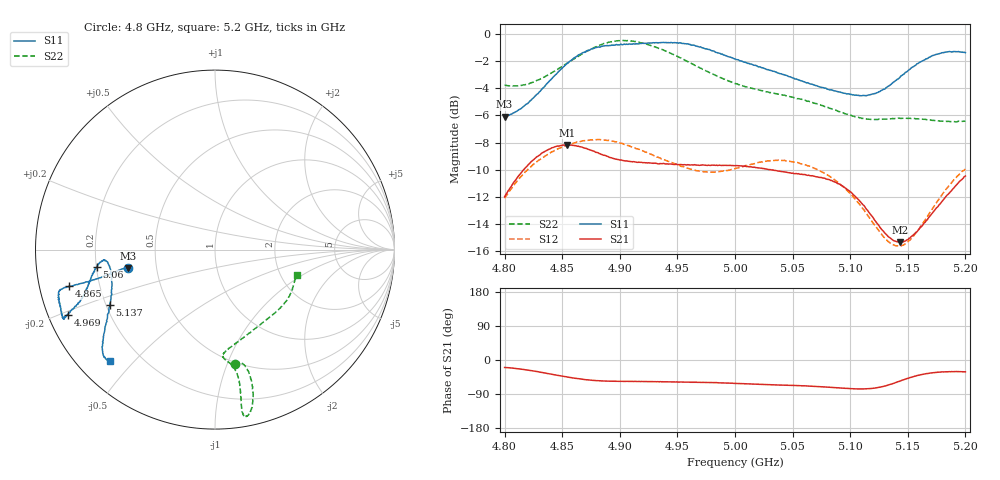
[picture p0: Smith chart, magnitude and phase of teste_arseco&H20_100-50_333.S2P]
! Network Analyzer HP8722D
! Hewlett-Packard
! Data name: Linha & Wilkinson
! Saver's name: Rodrigo Anjos
! Comments: Teste da utilização de aquisição
! continua pelo VNA HP8722D
! Time and date: 6/5/2025 15:20
!  Frequency  S11  S21  S12  S22
# HZ  S  MA R 50
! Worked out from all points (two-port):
!   401 points, 4.8 GHz to 5.2 GHz, reference 50 ohm
!   highest |S21| = -8.17 dB at 4.854 GHz (marker M1); lowest = -15.3 dB at 5.143 GHz (marker M2)
!   |S21| within 3 dB of the highest: 4.806 GHz to 5.093 GHz (286.8 MHz wide, 5.79 % of centre); 5.191618 GHz to end of sweep
!   lowest |S11| = -6.1 dB at 4.8 GHz (marker M3), VSWR 2.97, Z = 17 - j4.6 ohm
!   |S11| at or under -10 dB: nowhere
!   |S22| runs from -6.5 to -0.5 dB; largest |S21 - S12| = 0.62
!   S11 on the Smith chart (normalised r, x): 4.8 GHz: 0.34, -0.09; 4.865 GHz: 0.09, -0.12; 4.969 GHz: 0.06, -0.21; 5.06 GHz: 0.20, -0.07; 5.137 GHz: 0.22, -0.23; 5.2 GHz: 0.09, -0.43
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4.8e9  0.4963 -168.1  0.2518 -19.7  0.2485 -140.8  0.6482 -80.3
4.826e9  0.5877 -167.2  0.3469 -29.5  0.3337 -144.5  0.6692 -75.5
4.854e9  0.7758 -165.8  0.3904 -44.9  0.3889 -149.7  0.7789 -74.7
4.865e9  0.8398 -165.9  0.3849 -49.7  0.4012 -151.6  0.8326 -75.2
4.867e9  0.8483 -165.8  0.3834 -50.8  0.4029 -151.9  0.8427 -75.4
4.88e9  0.8911 -165.5  0.3664 -54.6  0.4083 -154.1  0.8991 -76.7
4.901e9  0.917 -162.3  0.3436 -56.1  0.3958 -156.6  0.9457 -79.2
4.934e9  0.9276 -156.3  0.3324 -57.5  0.3505 -155.6  0.8835 -80.4
4.953e9  0.9258 -155.5  0.3307 -58.0  0.3258 -152.0  0.815 -79.8
4.969e9  0.8946 -156.1  0.3284 -58.9  0.3126 -147.2  0.7523 -79.7
5e9  0.8093 -158.9  0.3275 -61.7  0.3196 -137.2  0.6566 -81.3
5.036e9  0.7228 -165.5  0.3138 -65.9  0.3428 -134.4  0.6022 -85.7
5.06e9  0.6664 -171.6  0.3039 -68.1  0.3306 -136.0  0.5708 -84.3
5.067e9  0.6528 -173.0  0.3008 -69.2  0.323 -136.8  0.56 -82.6
5.098e9  0.602 -172.8  0.2668 -75.2  0.2638 -138.9  0.5055 -68.6
5.115e9  0.5942 -166.0  0.2246 -75.9  0.2155 -135.8  0.4858 -56.5
5.134e9  0.6458 -154.2  0.1784 -65.4  0.1711 -120.8  0.4871 -43.3
5.137e9  0.6616 -152.4  0.1744 -62.3  0.1679 -116.8  0.4886 -41.5
5.143e9  0.6906 -149.2  0.1711 -56.0  0.1656 -108.9  0.489 -38.1
5.154e9  0.7541 -144.4  0.1809 -44.6  0.1789 -95.1  0.4888 -32.3
5.172e9  0.8331 -139.0  0.221 -33.5  0.2296 -81.0  0.4808 -24.6
5.2e9  0.8531 -133.5  0.3 -31.2  0.3184 -76.8  0.477 -17.6
